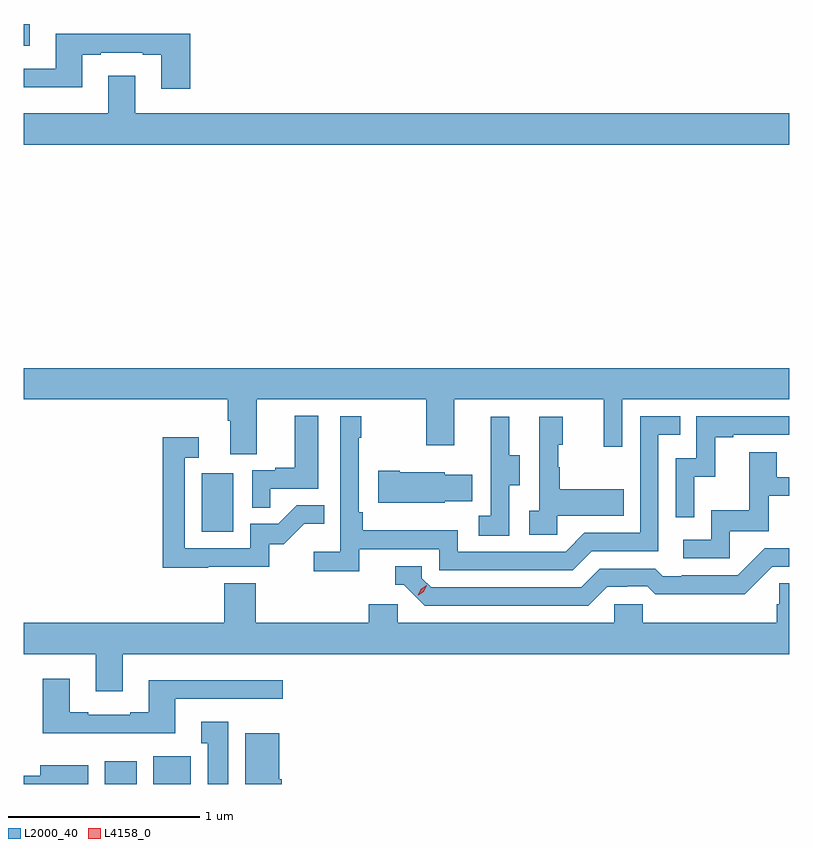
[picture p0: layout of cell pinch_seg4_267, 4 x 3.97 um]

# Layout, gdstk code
import gdstk
lib = gdstk.Library(unit=1e-6, precision=1e-09)
def R(c, l, rs):  # rectangles x0, y0, x1, y1
    for r in rs: c.add(gdstk.rectangle(r[:2], r[2:], *l))
def P(c, l, *ps):  # polygons
    for p in ps: c.add(gdstk.Polygon(p, *l))
L2000_40 = (2000, 40)
L4158_0 = (4158, 0)

pinch_seg4_267 = lib.new_cell('pinch_seg4_267')
R(pinch_seg4_267, L2000_40, [(920.945,828.11,921.112,828.229), (921.197,828.11,921.394,828.256), (921.452,829.428,921.616,829.735), (920.521,831.969,920.551,832.082)])
P(pinch_seg4_267, L2000_40, [(921.392,832.03),(920.687,832.03),(920.687,831.849),(920.521,831.849),(920.521,831.752),(920.827,831.752),(920.827,831.921),(920.923,831.921),(920.923,831.933),(921.143,831.933),(921.143,831.921),(921.239,831.921),(921.239,831.744),(921.392,831.744)],
  [(924.521,831.616),(921.103,831.616),(921.103,831.811),(920.963,831.811),(920.963,831.616),(920.521,831.616),(920.521,831.452),(924.521,831.452)],
  [(921.739,830.12),(922.624,830.12),(922.624,829.881),(922.771,829.881),(922.771,830.12),(923.552,830.12),(923.552,829.872),(923.649,829.872),(923.649,830.12),(924.521,830.12),(924.521,830.284),(920.521,830.284),(920.521,830.12),(921.587,830.12),(921.587,830.008),(921.599,830.008),(921.599,829.834),(921.739,829.834)],
  [(921.809,829.653),(922.06,829.653),(922.06,830.035),(921.938,830.035),(921.938,829.762),(921.835,829.762),(921.835,829.749),(921.714,829.749),(921.714,829.555),(921.809,829.555)],
  [(922.274,829.338),(922.692,829.338),(922.692,829.227),(923.389,829.227),(923.488,829.326),(923.838,829.326),(923.838,829.935),(923.951,829.935),(923.951,830.031),(923.742,830.031),(923.742,829.422),(923.451,829.422),(923.352,829.323),(922.788,829.323),(922.788,829.435),(922.292,829.435),(922.292,829.531),(922.272,829.531),(922.272,829.919),(922.285,829.919),(922.285,830.032),(922.176,830.032),(922.176,829.324),(922.035,829.324),(922.035,829.222),(922.274,829.222)],
  [(924.024,829.715),(924.134,829.715),(924.134,829.923),(924.229,829.923),(924.229,829.935),(924.521,829.935),(924.521,830.031),(924.036,830.031),(924.036,829.812),(923.928,829.812),(923.928,829.503),(924.024,829.503)],
  [(923.058,829.672),(923.113,829.672),(923.113,829.827),(923.059,829.827),(923.059,830.029),(922.961,830.029),(922.961,829.815),(922.962,829.815),(922.962,829.511),(922.899,829.511),(922.899,829.408),(923.058,829.408)],
  [(923.31,829.511),(923.657,829.511),(923.657,829.651),(923.323,829.651),(923.323,829.766),(923.313,829.766),(923.313,829.884),(923.338,829.884),(923.338,830.029),(923.214,830.029),(923.214,829.538),(923.163,829.538),(923.163,829.413),(923.31,829.413)],
  [(921.485,829.245),(921.804,829.245),(921.804,829.362),(921.88,829.362),(921.987,829.469),(922.091,829.469),(922.091,829.568),(921.948,829.568),(921.85,829.47),(921.705,829.47),(921.705,829.341),(921.363,829.341),(921.363,829.815),(921.436,829.815),(921.436,829.921),(921.247,829.921),(921.247,829.24),(921.485,829.24)],
  [(924.21,829.431),(924.415,829.431),(924.415,829.617),(924.521,829.617),(924.521,829.713),(924.457,829.713),(924.457,829.843),(924.313,829.843),(924.313,829.54),(924.114,829.54),(924.114,829.386),(923.967,829.386),(923.967,829.29),(924.21,829.29)],
  [(922.722,829.589),(922.865,829.589),(922.865,829.726),(922.722,829.726),(922.722,829.738),(922.486,829.738),(922.486,829.746),(922.374,829.746),(922.374,829.58),(922.722,829.58)],
  [(923.569,829.14),(923.676,829.14),(923.676,829.143),(923.779,829.143),(923.821,829.101),(924.054,829.101),(924.054,829.103),(924.29,829.103),(924.432,829.245),(924.521,829.245),(924.521,829.341),(924.393,829.341),(924.252,829.2),(923.959,829.2),(923.959,829.197),(923.86,829.197),(923.821,829.236),(923.532,829.236),(923.433,829.137),(922.65,829.137),(922.602,829.185),(922.602,829.248),(922.463,829.248),(922.463,829.152),(922.506,829.152),(922.617,829.041),(923.47,829.041)],
  [(921.037,828.788),(924.521,828.788),(924.521,829.16),(924.469,829.16),(924.469,829.05),(924.455,829.05),(924.455,828.952),(923.757,828.952),(923.757,829.05),(923.607,829.05),(923.607,828.952),(922.476,828.952),(922.476,829.05),(922.325,829.05),(922.325,828.952),(921.734,828.952),(921.734,829.16),(921.569,829.16),(921.569,828.952),(920.521,828.952),(920.521,828.788),(920.897,828.788),(920.897,828.594),(921.037,828.594)],
  [(921.313,828.555),(921.874,828.555),(921.874,828.652),(921.173,828.652),(921.173,828.484),(921.077,828.484),(921.077,828.471),(920.857,828.471),(920.857,828.484),(920.761,828.484),(920.761,828.661),(920.621,828.661),(920.621,828.374),(921.313,828.374)],
  [(921.589,828.436),(921.449,828.436),(921.449,828.323),(921.482,828.323),(921.482,828.11),(921.589,828.11)],
  [(921.869,828.136),(921.856,828.136),(921.856,828.376),(921.677,828.376),(921.677,828.11),(921.869,828.11)],
  [(920.857,828.208),(920.606,828.208),(920.606,828.154),(920.521,828.154),(920.521,828.11),(920.857,828.11)])
P(pinch_seg4_267, L4158_0, [(922.581,829.097),(922.581,829.097),(922.597,829.13),(922.628,829.149),(922.628,829.149),(922.628,829.149),(922.612,829.116),(922.582,829.097)])

lib.write_gds('pinch_seg4_267.gds')
